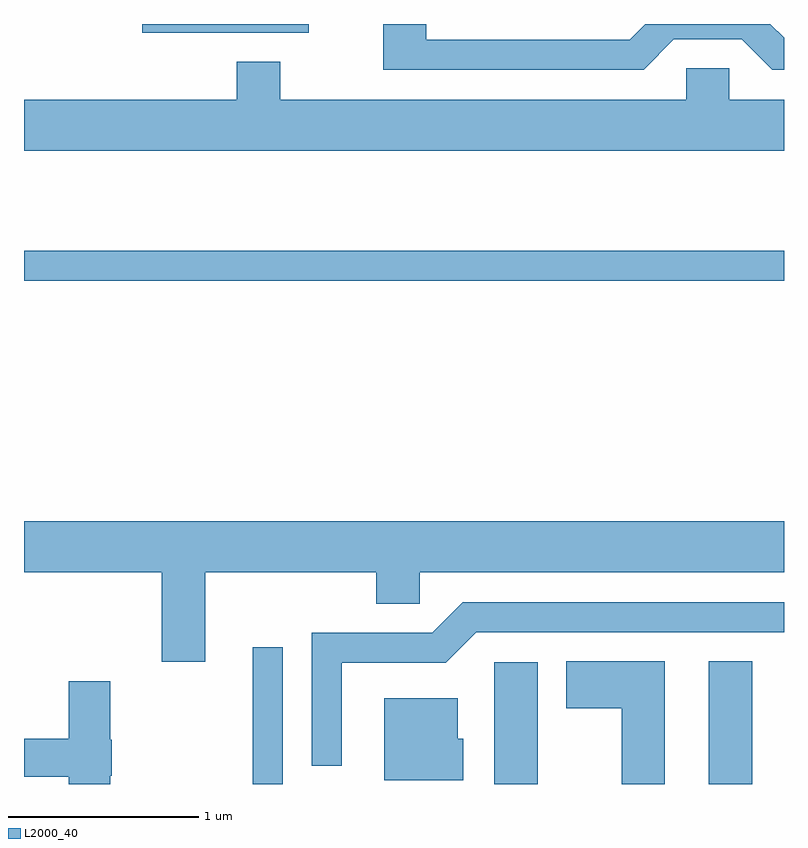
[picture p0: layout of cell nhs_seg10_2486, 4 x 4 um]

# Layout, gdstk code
import gdstk
lib = gdstk.Library(unit=1e-6, precision=1e-09)
def R(c, l, rs):  # rectangles x0, y0, x1, y1
    for r in rs: c.add(gdstk.rectangle(r[:2], r[2:], *l))
def P(c, l, *ps):  # polygons
    for p in ps: c.add(gdstk.Polygon(p, *l))
L2000_40 = (2000, 40)

nhs_seg10_2486 = lib.new_cell('nhs_seg10_2486')
R(nhs_seg10_2486, L2000_40, [(258.816,2170.522,258.974,2171.243), (260.086,2170.522,260.314,2171.164), (261.216,2170.522,261.444,2171.169), (257.611,2173.171,261.611,2173.329), (258.233,2174.476,259.109,2174.522)])
P(nhs_seg10_2486, L2000_40, [(261.032,2174.441),(261.389,2174.441),(261.549,2174.281),(261.611,2174.281),(261.611,2174.45),(261.539,2174.522),(260.882,2174.522),(260.799,2174.439),(259.729,2174.439),(259.729,2174.522),(259.501,2174.522),(259.501,2174.281),(260.872,2174.281)],
  [(261.611,2174.124),(261.324,2174.124),(261.324,2174.289),(261.096,2174.289),(261.096,2174.124),(258.959,2174.124),(258.959,2174.324),(258.731,2174.324),(258.731,2174.124),(257.611,2174.124),(257.611,2173.856),(261.611,2173.856)],
  [(258.564,2171.636),(259.466,2171.636),(259.466,2171.471),(259.694,2171.471),(259.694,2171.636),(261.611,2171.636),(261.611,2171.904),(257.611,2171.904),(257.611,2171.636),(258.336,2171.636),(258.336,2171.166),(258.564,2171.166)],
  [(259.284,2171.161),(259.832,2171.161),(259.992,2171.321),(261.611,2171.321),(261.611,2171.479),(259.919,2171.479),(259.759,2171.319),(259.126,2171.319),(259.126,2170.618),(259.284,2170.618)],
  [(260.984,2171.169),(260.466,2171.169),(260.466,2170.921),(260.756,2170.921),(260.756,2170.522),(260.984,2170.522)],
  [(258.064,2170.565),(258.074,2170.565),(258.074,2170.755),(258.064,2170.755),(258.064,2171.064),(257.846,2171.064),(257.846,2170.759),(257.611,2170.759),(257.611,2170.561),(257.846,2170.561),(257.846,2170.522),(258.064,2170.522)],
  [(259.924,2170.759),(259.894,2170.759),(259.894,2170.974),(259.506,2170.974),(259.506,2170.541),(259.924,2170.541)])

lib.write_gds('nhs_seg10_2486.gds')
